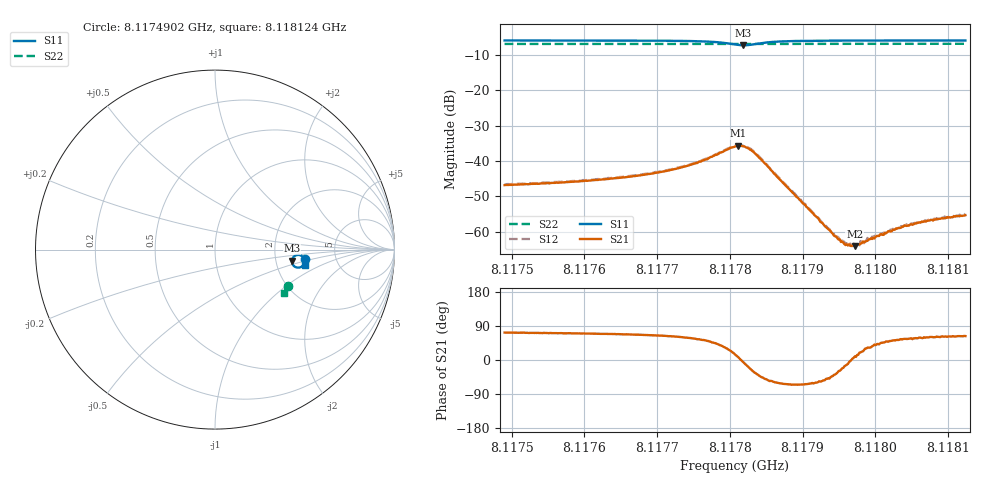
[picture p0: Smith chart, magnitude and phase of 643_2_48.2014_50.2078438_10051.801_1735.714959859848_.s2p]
#  HZ  S  RI  R  50.00
! Rohde & Schwarz Vector Network Analyzer
! Rohde-Schwarz,ZNB20-2Port,1311601062101988,3.16
! Created: UTC 3/20/2024, 12:04:54 PM
! freq[Hz]  re:S11  im:S11  re:S21  im:S21  re:S12  im:S12  re:S22  im:S22
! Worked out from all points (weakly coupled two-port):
!   401 points, 8.1174902 GHz to 8.118124 GHz, reference 50 ohm
!   highest |S21| = -35.66 dB at 8.1178119 GHz (marker M1); lowest = -64.1 dB at 8.1179719 GHz (marker M2)
!   lowest |S11| = -7.3 dB at 8.1178182 GHz (marker M3), VSWR 2.53, Z = 123 - j18.8 ohm
!   |S11| at or under -10 dB: nowhere
!   |S22| runs from -6.9 to -6.8 dB; largest |S21 - S12| = 0.00062
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8.11749024e9  0.5038 -0.0537  0.00138 0.00435  0.00143 0.00444  0.4057 -0.2008
8.11759639e9  0.502 -0.0646  0.00178 0.00489  0.00183 0.00496  0.4026 -0.2076
8.11765659e9  0.4997 -0.0722  0.00223 0.00547  0.00232 0.00557  0.4006 -0.2115
8.11770254e9  0.4965 -0.0797  0.00299 0.00624  0.00305 0.00638  0.399 -0.2145
8.11775324e9  0.4868 -0.092  0.00524 0.00772  0.00538 0.00782  0.3971 -0.2179
8.1178071e9  0.4354 -0.0867  0.0155 0.00403  0.0159 0.00424  0.3934 -0.2201
8.11781185e9  0.4303 -0.0773  0.0163 0.00202  0.0167 0.00206  0.3931 -0.2201
8.11781819e9  0.4282 -0.0621  0.0161 -0.0015  0.0165 -0.0015  0.3931 -0.2198
8.11782611e9  0.4351 -0.0439  0.0141 -0.00509  0.0144 -0.00514  0.3932 -0.2196
8.11783562e9  0.4514 -0.0318  0.0103 -0.00717  0.0105 -0.00742  0.3937 -0.2198
8.11786414e9  0.4859 -0.0375  0.00311 -0.00527  0.00317 -0.00548  0.3943 -0.2221
8.11791325e9  0.4985 -0.0566  0.000913 -0.00162  0.000884 -0.0017  0.3931 -0.2262
8.11794177e9  0.5 -0.0634  0.000689 -0.000625  0.000746 -0.000664  0.3922 -0.2281
8.11795603e9  0.5003 -0.0661  0.000659 -0.000249  0.000673 -0.000287  0.3918 -0.229
8.11796236e9  0.5003 -0.0673  0.000628 -0.000116  0.000694 -0.000127  0.3915 -0.2293
8.11797187e9  0.5003 -0.0689  0.000618 0.000103  0.000659 5.06e-05  0.3912 -0.23
8.11798454e9  0.5003 -0.0708  0.000634 0.00031  0.000627 0.000283  0.3907 -0.231
8.1179988e9  0.5003 -0.073  0.00061 0.000522  0.000679 0.00055  0.3904 -0.2317
8.1180194e9  0.5002 -0.0755  0.000655 0.000779  0.000683 0.00078  0.3896 -0.233
8.11803999e9  0.5 -0.0781  0.000689 0.00101  0.000701 0.00101  0.3889 -0.2345
8.11806059e9  0.4998 -0.0803  0.00069 0.00116  0.0007 0.00116  0.3883 -0.2356
8.11812396e9  0.4991 -0.0868  0.000773 0.00152  0.000786 0.00162  0.386 -0.2396
